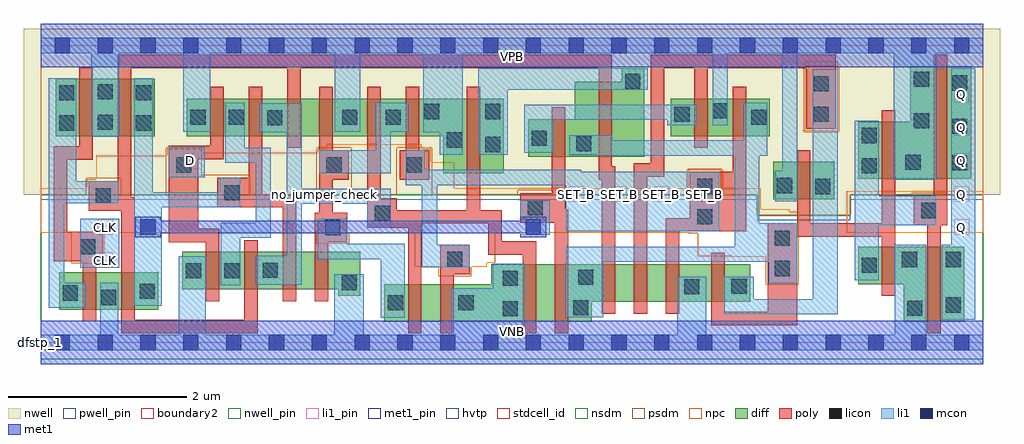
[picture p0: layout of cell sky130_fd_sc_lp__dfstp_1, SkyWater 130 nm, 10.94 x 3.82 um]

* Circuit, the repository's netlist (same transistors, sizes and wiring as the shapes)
* Copyright 2020 The SkyWater PDK Authors
*
* Licensed under the Apache License, Version 2.0 (the "License");
* you may not use this file except in compliance with the License.
* You may obtain a copy of the License at
*
*     https://www.apache.org/licenses/LICENSE-2.0
*
* Unless required by applicable law or agreed to in writing, software
* distributed under the License is distributed on an "AS IS" BASIS,
* WITHOUT WARRANTIES OR CONDITIONS OF ANY KIND, either express or implied.
* See the License for the specific language governing permissions and
* limitations under the License.
*
* SPDX-License-Identifier: Apache-2.0

.SUBCKT sky130_fd_sc_lp__dfstp_1 CLK D SET_B VGND VNB VPB VPWR Q
*.PININFO CLK:I D:I SET_B:I VGND:I VNB:I VPB:I VPWR:I Q:O
MI36 net120 M0 VGND VNB sky130_fd_pr__nfet_01v8 m=1 w=0.64U l=0.15U mult=1 sa=0.265
+ sb=0.265 sd=0.28 area=0.063 perim=1.14
MI42 db clkneg M0 VNB sky130_fd_pr__nfet_01v8 m=1 w=0.42U l=0.15U mult=1 sa=0.265
+ sb=0.265 sd=0.28 area=0.063 perim=1.14
MI44 clkneg CLK VGND VNB sky130_fd_pr__nfet_01v8 m=1 w=0.42U l=0.15U mult=1 sa=0.265
+ sb=0.265 sd=0.28 area=0.063 perim=1.14
MI39 db D VGND VNB sky130_fd_pr__nfet_01v8 m=1 w=0.42U l=0.15U mult=1 sa=0.265
+ sb=0.265 sd=0.28 area=0.063 perim=1.14
MI656 M1 M0 net103 VNB sky130_fd_pr__nfet_01v8 m=1 w=0.42U l=0.15U mult=1 sa=0.265
+ sb=0.265 sd=0.28 area=0.063 perim=1.14
MI654 net100 M1 VGND VNB sky130_fd_pr__nfet_01v8 m=1 w=0.42U l=0.15U mult=1 sa=0.265
+ sb=0.265 sd=0.28 area=0.063 perim=1.14
MI34 S0 clkpos net120 VNB sky130_fd_pr__nfet_01v8 m=1 w=0.64U l=0.15U mult=1 sa=0.265
+ sb=0.265 sd=0.28 area=0.063 perim=1.14
MI46 clkpos clkneg VGND VNB sky130_fd_pr__nfet_01v8 m=1 w=0.42U l=0.15U mult=1
+ sa=0.265 sb=0.265 sd=0.28 area=0.063 perim=1.14
MI25 net88 SET_B VGND VNB sky130_fd_pr__nfet_01v8 m=1 w=0.42U l=0.15U mult=1 sa=0.265
+ sb=0.265 sd=0.28 area=0.063 perim=1.14
MI26 S0 clkneg net80 VNB sky130_fd_pr__nfet_01v8 m=1 w=0.42U l=0.15U mult=1 sa=0.265
+ sb=0.265 sd=0.28 area=0.063 perim=1.14
MI27 net80 S1 net88 VNB sky130_fd_pr__nfet_01v8 m=1 w=0.42U l=0.15U mult=1 sa=0.265
+ sb=0.265 sd=0.28 area=0.063 perim=1.14
MI647 S1 S0 VGND VNB sky130_fd_pr__nfet_01v8 m=1 w=0.42U l=0.15U mult=1 sa=0.265
+ sb=0.265 sd=0.28 area=0.063 perim=1.14
MI655 M0 clkpos net100 VNB sky130_fd_pr__nfet_01v8 m=1 w=0.42U l=0.15U mult=1 sa=0.265
+ sb=0.265 sd=0.28 area=0.063 perim=1.14
MI657 net103 SET_B VGND VNB sky130_fd_pr__nfet_01v8 m=1 w=0.42U l=0.15U mult=1
+ sa=0.265 sb=0.265 sd=0.28 area=0.063 perim=1.14
MI652 net128 S0 VGND VNB sky130_fd_pr__nfet_01v8 m=1 w=0.42U l=0.15U mult=1 sa=0.265
+ sb=0.265 sd=0.28 area=0.063 perim=1.14
MI653 Q net128 VGND VNB sky130_fd_pr__nfet_01v8 m=1 w=0.84U l=0.15U mult=1 sa=0.265
+ sb=0.265 sd=0.28 area=0.063 perim=1.14
MI40 db D VPWR VPB sky130_fd_pr__pfet_01v8_hvt m=1 w=0.42U l=0.15U mult=1 sa=0.265
+ sb=0.265 sd=0.28 area=0.063 perim=1.14
MI38 S0 clkneg net179 VPB sky130_fd_pr__pfet_01v8_hvt m=1 w=0.84U l=0.15U mult=1
+ sa=0.265 sb=0.265 sd=0.28 area=0.063 perim=1.14
MI37 net179 M0 VPWR VPB sky130_fd_pr__pfet_01v8_hvt m=1 w=0.84U l=0.15U mult=1
+ sa=0.265 sb=0.265 sd=0.28 area=0.063 perim=1.14
MI43 db clkpos M0 VPB sky130_fd_pr__pfet_01v8_hvt m=1 w=0.42U l=0.15U mult=1 sa=0.265
+ sb=0.265 sd=0.28 area=0.063 perim=1.14
MI45 clkneg CLK VPWR VPB sky130_fd_pr__pfet_01v8_hvt m=1 w=0.64U l=0.15U mult=1
+ sa=0.265 sb=0.265 sd=0.28 area=0.063 perim=1.14
MI47 clkpos clkneg VPWR VPB sky130_fd_pr__pfet_01v8_hvt m=1 w=0.64U l=0.15U mult=1
+ sa=0.265 sb=0.265 sd=0.28 area=0.063 perim=1.14
MI659 M1 SET_B VPWR VPB sky130_fd_pr__pfet_01v8_hvt m=1 w=0.42U l=0.15U mult=1
+ sa=0.265 sb=0.265 sd=0.28 area=0.063 perim=1.14
MI662 net156 M1 VPWR VPB sky130_fd_pr__pfet_01v8_hvt m=1 w=0.42U l=0.15U mult=1
+ sa=0.265 sb=0.265 sd=0.28 area=0.063 perim=1.14
MI664 M0 clkneg net156 VPB sky130_fd_pr__pfet_01v8_hvt m=1 w=0.42U l=0.15U mult=1
+ sa=0.265 sb=0.265 sd=0.28 area=0.063 perim=1.14
MI6 net143 S1 VPWR VPB sky130_fd_pr__pfet_01v8_hvt m=1 w=0.42U l=0.15U mult=1 sa=0.265
+ sb=0.265 sd=0.28 area=0.063 perim=1.14
MI5 S0 clkpos net143 VPB sky130_fd_pr__pfet_01v8_hvt m=1 w=0.42U l=0.15U mult=1
+ sa=0.265 sb=0.265 sd=0.28 area=0.063 perim=1.14
MI24 S0 SET_B VPWR VPB sky130_fd_pr__pfet_01v8_hvt m=1 w=0.42U l=0.15U mult=1 sa=0.265
+ sb=0.265 sd=0.28 area=0.063 perim=1.14
MI648 S1 S0 VPWR VPB sky130_fd_pr__pfet_01v8_hvt m=1 w=0.42U l=0.15U mult=1 sa=0.265
+ sb=0.265 sd=0.28 area=0.063 perim=1.14
MI658 M1 M0 VPWR VPB sky130_fd_pr__pfet_01v8_hvt m=1 w=0.42U l=0.15U mult=1 sa=0.265
+ sb=0.265 sd=0.28 area=0.063 perim=1.14
MI663 net128 S0 VPWR VPB sky130_fd_pr__pfet_01v8_hvt m=1 w=0.64U l=0.15U mult=1
+ sa=0.265 sb=0.265 sd=0.28 area=0.063 perim=1.14
MI660 Q net128 VPWR VPB sky130_fd_pr__pfet_01v8_hvt m=1 w=1.26U l=0.15U mult=1
+ sa=0.265 sb=0.265 sd=0.28 area=0.063 perim=1.14
.ENDS sky130_fd_sc_lp__dfstp_1

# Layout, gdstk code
import gdstk
lib = gdstk.Library(unit=1e-6, precision=1e-09)
def R(c, l, rs):  # rectangles x0, y0, x1, y1
    for r in rs: c.add(gdstk.rectangle(r[:2], r[2:], *l))
def A(c, l, x, y, w, h, nx, ny, dx, dy):  # array of equal rectangles
    R(c, l, [(x+i*dx, y+j*dy, x+i*dx+w, y+j*dy+h) for i in range(nx) for j in range(ny)])
def P(c, l, *ps):  # polygons
    for p in ps: c.add(gdstk.Polygon(p, *l))
nwell_pin = (64, 16)
nwell = (64, 20)
diff = (65, 20)
poly = (66, 20)
licon = (66, 44)
li1_pin = (67, 16)
li1 = (67, 20)
mcon = (67, 44)
met1_pin = (68, 16)
met1 = (68, 20)
hvtp = (78, 44)
stdcell_id = (81, 4)
nsdm = (93, 44)
psdm = (94, 20)
npc = (95, 20)
pwell_pin = (122, 16)
boundary2 = (236, 0)

sky130_fd_sc_lp__dfstp_1 = lib.new_cell('sky130_fd_sc_lp__dfstp_1')
R(sky130_fd_sc_lp__dfstp_1, nwell_pin, [(0,3.085,10.56,3.33)])
P(sky130_fd_sc_lp__dfstp_1, nwell, [(10.75,3.52),(-0.19,3.52),(-0.19,1.655),(8.03,1.655),(8.03,1.425),(9.07,1.425),(9.07,1.655),(10.75,1.655)])
R(sky130_fd_sc_lp__dfstp_1, diff, [(0.205,0.37,1.315,0.79), (8.21,1.605,8.89,2.025), (0.165,2.315,1.275,2.955), (7.06,2.315,8.17,2.735)])
P(sky130_fd_sc_lp__dfstp_1, diff, [(3.58,1.015),(1.585,1.015),(1.585,0.595),(3.33,0.595),(3.33,0.525),(3.58,0.525)],
  [(5.19,2.735),(1.635,2.735),(1.635,2.315),(4.51,2.315),(4.51,1.895),(5.19,1.895)],
  [(6.76,3.075),(6.51,3.075),(6.51,2.925),(5.985,2.925),(5.985,2.505),(5.46,2.505),(5.46,2.085),(6.76,2.085)],
  [(7.95,0.875),(5.045,0.875),(5.045,0.655),(3.85,0.655),(3.85,0.235),(6.175,0.235),(6.175,0.455),(7.95,0.455)],
  [(10.35,1.075),(9.16,1.075),(9.16,0.655),(9.67,0.655),(9.67,0.235),(10.35,0.235)],
  [(10.425,3.095),(9.745,3.095),(9.745,2.475),(9.16,2.475),(9.16,1.835),(10.425,1.835)])
P(sky130_fd_sc_lp__dfstp_1, poly, [(0.69,1.24),(0.295,1.24),(0.295,2.05),(0.58,2.05),(0.58,3.085),(0.43,3.085),(0.43,2.2),(0.145,2.2),(0.145,0.91),(0.47,0.91),(0.47,0.24),(0.62,0.24),(0.62,0.91),(0.69,0.91)],
  [(2.05,2.865),(1.9,2.865),(1.9,2.205),(1.435,2.205),(1.435,1.125),(1.85,1.125),(1.85,0.465),(2,0.465),(2,1.275),(1.765,1.275),(1.765,2.055),(2.05,2.055)],
  [(2.86,1.665),(2.48,1.665),(2.48,2.865),(2.33,2.865),(2.33,1.845),(1.975,1.845),(1.975,1.515),(2.71,1.515),(2.71,0.465),(2.86,0.465)],
  [(3.45,2.155),(3.27,2.155),(3.27,2.865),(3.12,2.865),(3.12,1.455),(3.07,1.455),(3.07,0.465),(3.22,0.465),(3.22,1.125),(3.435,1.125),(3.435,1.455),(3.27,1.455),(3.27,1.825),(3.45,1.825)],
  [(4.35,2.155),(4.24,2.155),(4.24,2.865),(4.09,2.865),(4.09,2.155),(4.02,2.155),(4.02,1.825),(4.35,1.825)],
  [(4.805,1.095),(4.475,1.095),(4.475,0.105),(4.625,0.105),(4.625,0.765),(4.805,0.765)],
  [(5.55,1.135),(5.165,1.135),(5.165,1.485),(4.925,1.485),(4.925,2.865),(4.775,2.865),(4.775,1.485),(3.99,1.485),(3.99,1.615),(3.81,1.615),(3.81,2.865),(3.66,2.865),(3.66,1.285),(4.115,1.285),(4.115,0.105),(4.265,0.105),(4.265,1.335),(5.015,1.335),(5.015,0.985),(5.4,0.985),(5.4,0.105),(5.55,0.105)],
  [(5.91,1.495),(5.875,1.495),(5.875,2.635),(5.725,2.635),(5.725,1.675),(5.375,1.675),(5.375,1.345),(5.76,1.345),(5.76,0.105),(5.91,0.105)],
  [(6.435,1.975),(6.4,1.975),(6.4,3.225),(0.86,3.225),(0.86,1.81),(0.535,1.81),(0.535,1.48),(0.9,1.48),(0.9,0.105),(2.43,0.105),(2.43,1.145),(2.28,1.145),(2.28,0.255),(1.05,0.255),(1.05,1.63),(1.01,1.63),(1.01,3.075),(2.76,3.075),(2.76,2.185),(2.91,2.185),(2.91,3.075),(6.25,3.075),(6.25,1.825),(6.285,1.825),(6.285,0.325),(6.435,0.325)],
  [(7.905,2.865),(7.755,2.865),(7.755,1.915),(7.275,1.915),(7.275,1.395),(7.005,1.395),(7.005,0.325),(7.155,0.325),(7.155,1.245),(7.905,1.245)],
  [(8.91,3.225),(6.835,3.225),(6.835,2.01),(6.645,2.01),(6.645,0.325),(6.795,0.325),(6.795,1.86),(6.985,1.86),(6.985,3.075),(7.325,3.075),(7.325,2.185),(7.475,2.185),(7.475,3.075),(8.58,3.075),(8.58,2.395),(8.91,2.395)],
  [(9.575,2.605),(9.425,2.605),(9.425,1.335),(8.625,1.335),(8.625,2.155),(8.475,2.155),(8.475,1.335),(8.145,1.335),(8.145,0.345),(7.665,0.345),(7.665,1.005),(7.515,1.005),(7.515,0.195),(8.475,0.195),(8.475,1.185),(9.425,1.185),(9.425,0.525),(9.575,0.525)],
  [(10.16,3.225),(10.01,3.225),(10.01,1.645),(9.785,1.645),(9.785,1.315),(9.935,1.315),(9.935,0.105),(10.085,0.105),(10.085,1.315),(10.16,1.315)])
R(sky130_fd_sc_lp__dfstp_1, licon, [(5.175,0.295,5.345,0.465), (9.71,0.3,9.88,0.47), (5.965,0.305,6.135,0.475), (10.14,0.335,10.31,0.505), (3.89,0.36,4.06,0.53), (4.68,0.36,4.85,0.53), (0.675,0.42,0.845,0.59), (0.245,0.47,0.415,0.64), (1.105,0.49,1.275,0.66), (7.21,0.54,7.38,0.71), (7.74,0.545,7.91,0.715), (3.37,0.585,3.54,0.755), (5.175,0.635,5.345,0.805), (6.02,0.645,6.19,0.815), (1.625,0.72,1.795,0.89), (2.055,0.72,2.225,0.89), (2.485,0.725,2.655,0.895), (8.225,0.745,8.395,0.915), (9.2,0.78,9.37,0.95), (4.555,0.845,4.725,1.015), (9.65,0.845,9.82,1.015), (10.14,0.845,10.31,1.015), (0.44,0.99,0.61,1.16), (8.225,1.085,8.395,1.255), (3.185,1.205,3.355,1.375), (7.355,1.325,7.525,1.495), (3.74,1.365,3.91,1.535), (9.865,1.395,10.035,1.565), (5.455,1.425,5.625,1.595), (0.615,1.56,0.785,1.73), (2.055,1.595,2.225,1.765), (7.355,1.665,7.525,1.835), (8.68,1.665,8.85,1.835), (8.25,1.675,8.42,1.845), (9.2,1.895,9.37,2.065), (1.515,1.905,1.685,2.075), (3.2,1.905,3.37,2.075), (4.1,1.905,4.27,2.075), (10.215,1.93,10.385,2.1), (9.69,1.935,9.86,2.105), (4.98,2.135,5.15,2.305), (6,2.145,6.17,2.315), (4.55,2.185,4.72,2.355), (5.5,2.205,5.67,2.375), (9.2,2.235,9.37,2.405), (10.215,2.34,10.385,2.51), (0.205,2.375,0.375,2.545), (1.065,2.375,1.235,2.545), (0.635,2.385,0.805,2.555), (9.785,2.4,9.955,2.57), (2.535,2.435,2.705,2.605), (1.675,2.44,1.845,2.61), (2.105,2.44,2.275,2.61), (3.375,2.44,3.545,2.61), (3.865,2.44,4.035,2.61), (7.96,2.44,8.13,2.61), (7.1,2.475,7.27,2.645), (8.66,2.475,8.83,2.645), (4.295,2.505,4.465,2.675), (4.98,2.505,5.15,2.675), (7.53,2.515,7.7,2.685), (0.205,2.715,0.375,2.885), (1.065,2.715,1.235,2.885), (0.635,2.725,0.805,2.895), (8.66,2.815,8.83,2.985), (10.215,2.825,10.385,2.995), (6.55,2.845,6.72,3.015), (9.785,2.865,9.955,3.035)])
A(sky130_fd_sc_lp__dfstp_1, li1_pin, 10.235, 1.21, 0.17, 0.17, 1, 5, 0, 0.37)
A(sky130_fd_sc_lp__dfstp_1, li1_pin, 5.915, 1.58, 0.17, 0.17, 4, 1, 0.48, 0)
R(sky130_fd_sc_lp__dfstp_1, li1_pin, [(0.635,0.84,0.805,1.01), (0.635,1.21,0.805,1.38), (1.595,1.95,1.765,2.12)])
R(sky130_fd_sc_lp__dfstp_1, li1, [(0.44,0.84,0.875,1.39), (1.435,1.855,1.835,2.19)])
P(sky130_fd_sc_lp__dfstp_1, li1, [(4.3,1.935),(6.055,1.935),(6.055,1.915),(7.605,1.915),(7.605,1.245),(5.885,1.245),(5.885,1.765),(4.44,1.765),(4.44,1.095),(4.805,1.095),(4.805,0.845),(4.27,0.845),(4.27,1.765),(4.09,1.765),(4.09,2.155),(4.3,2.155)],
  [(10.56,3.415),(0,3.415),(0,3.245),(0.565,3.245),(0.565,2.305),(0.875,2.305),(0.875,3.245),(1.595,3.245),(1.595,2.36),(1.895,2.36),(1.895,3.245),(3.295,3.245),(3.295,2.36),(3.58,2.36),(3.58,3.245),(4.285,3.245),(4.285,2.355),(4.47,2.355),(4.47,2.105),(4.73,2.105),(4.73,3.245),(7.53,3.245),(7.53,2.435),(7.7,2.435),(7.7,3.245),(8.31,3.245),(8.31,1.925),(8.23,1.925),(8.23,1.585),(8.48,1.585),(8.48,3.245),(9.56,3.245),(9.56,1.825),(10.035,1.825),(10.035,3.245),(10.56,3.245)],
  [(3.105,0.935),(3.105,1.385),(3.435,1.385),(3.435,1.105),(4.08,1.105),(4.08,0.28),(3.81,0.28),(3.81,0.935)],
  [(5.435,1.21),(5.435,1.38),(5.375,1.38),(5.375,1.595),(5.705,1.595),(5.705,1.21)],
  [(10.205,1.095),(10.205,3.075),(10.475,3.075),(10.475,0.255),(10.095,0.255),(10.095,1.095)],
  [(9.39,1.645),(10.035,1.645),(10.035,1.315),(9.39,1.315),(9.39,0.7),(9.12,0.7),(9.12,2.485),(9.39,2.485)],
  [(8.65,0.485),(8.65,3.065),(8.93,3.065),(8.93,0.315),(7.66,0.315),(7.66,0.735),(7.99,0.735),(7.99,0.485)],
  [(7.775,1.075),(7.775,2.095),(6.235,2.095),(6.235,2.105),(5.92,2.105),(5.92,2.325),(6.405,2.325),(6.405,2.265),(7.88,2.265),(7.88,2.69),(8.14,2.69),(8.14,2.095),(8.05,2.095),(8.05,1.335),(8.475,1.335),(8.475,0.665),(8.16,0.665),(8.16,0.905),(6.305,0.905),(6.305,0.285),(5.885,0.285),(5.885,1.075)],
  [(5.23,2.835),(5.23,2.105),(4.9,2.105),(4.9,3.075),(6.8,3.075),(6.8,2.835)],
  [(7.02,2.495),(5.75,2.495),(5.75,2.125),(5.42,2.125),(5.42,2.665),(7.35,2.665),(7.35,2.435),(7.02,2.435)],
  [(3.75,2.155),(3.75,2.69),(4.115,2.69),(4.115,2.36),(3.92,2.36),(3.92,1.895),(3.12,1.895),(3.12,2.155)],
  [(2.925,1.725),(3.92,1.725),(3.92,1.285),(3.66,1.285),(3.66,1.555),(2.925,1.555),(2.925,0.645),(2.405,0.645),(2.405,0.975),(2.755,0.975),(2.755,2.355),(2.455,2.355),(2.455,2.685),(2.925,2.685)],
  [(2.285,2.185),(2.575,2.185),(2.575,1.175),(2.235,1.175),(2.235,0.64),(2.015,0.64),(2.015,1.345),(2.405,1.345),(2.405,2.015),(2.065,2.015),(2.065,2.69),(2.285,2.69)],
  [(1.255,1.685),(2.005,1.685),(2.005,1.845),(2.235,1.845),(2.235,1.515),(1.355,1.515),(1.355,0.41),(1.045,0.41),(1.045,2.965),(1.255,2.965)],
  [(0.395,1.81),(0.865,1.81),(0.865,1.56),(0.26,1.56),(0.26,0.67),(0.495,0.67),(0.495,0.39),(0.09,0.39),(0.09,2.965),(0.395,2.965)],
  [(10.56,0.085),(9.925,0.085),(9.925,1.095),(9.57,1.095),(9.57,0.085),(7.46,0.085),(7.46,0.735),(7.13,0.735),(7.13,0.085),(5.425,0.085),(5.425,0.885),(5.065,0.885),(5.065,0.61),(4.6,0.61),(4.6,0.085),(3.62,0.085),(3.62,0.765),(3.29,0.765),(3.29,0.085),(1.845,0.085),(1.845,0.97),(1.545,0.97),(1.545,0.085),(0.865,0.085),(0.865,0.67),(0.665,0.67),(0.665,0.085),(0,0.085),(0,-0.085),(10.56,-0.085)])
A(sky130_fd_sc_lp__dfstp_1, mcon, 0.155, -0.085, 0.17, 0.17, 22, 2, 0.48, 3.33)
R(sky130_fd_sc_lp__dfstp_1, mcon, [(1.115,1.21,1.285,1.38), (5.435,1.21,5.605,1.38)])
R(sky130_fd_sc_lp__dfstp_1, met1_pin, [(0,0,10.56,0.245), (0,3.085,10.56,3.33)])
R(sky130_fd_sc_lp__dfstp_1, met1, [(0,-0.245,10.56,0.245), (0,3.085,10.56,3.575)])
P(sky130_fd_sc_lp__dfstp_1, met1, [(1.345,1.365),(5.375,1.365),(5.375,1.41),(5.665,1.41),(5.665,1.18),(5.375,1.18),(5.375,1.225),(1.345,1.225),(1.345,1.18),(1.055,1.18),(1.055,1.41),(1.345,1.41)])
P(sky130_fd_sc_lp__dfstp_1, hvtp, [(10.56,3.33),(0,3.33),(0,1.6),(8.03,1.6),(8.03,1.37),(9.07,1.37),(9.07,1.6),(10.56,1.6)])
R(sky130_fd_sc_lp__dfstp_1, stdcell_id, [(0,0,10.56,3.33)])
P(sky130_fd_sc_lp__dfstp_1, nsdm, [(10.56,1.655),(9.07,1.655),(9.07,1.425),(8.03,1.425),(8.03,1.655),(0,1.655),(0,-0.19),(10.56,-0.19)])
P(sky130_fd_sc_lp__dfstp_1, psdm, [(10.56,3.52),(8.94,3.52),(8.94,2.365),(8.55,2.365),(8.55,3.095),(8.94,3.095),(8.94,3.52),(0,3.52),(0,1.655),(0.505,1.655),(0.505,1.84),(0.895,1.84),(0.895,1.655),(1.405,1.655),(1.405,2.185),(1.795,2.185),(1.795,1.875),(2.335,1.875),(2.335,1.655),(3.09,1.655),(3.09,2.185),(3.48,2.185),(3.48,1.655),(3.99,1.655),(3.99,2.185),(4.38,2.185),(4.38,1.655),(5.345,1.655),(5.345,1.705),(5.735,1.705),(5.735,1.655),(7.245,1.655),(7.245,1.945),(7.635,1.945),(7.635,1.655),(8.03,1.655),(8.03,1.425),(9.07,1.425),(9.07,1.655),(9.755,1.655),(9.755,1.675),(10.145,1.675),(10.145,1.655),(10.56,1.655)])
R(sky130_fd_sc_lp__dfstp_1, npc, [(9.03,1.23,10.56,1.695), (8.56,2.375,8.93,3.155)])
P(sky130_fd_sc_lp__dfstp_1, npc, [(8.495,1.465),(8.39,1.465),(8.39,1.495),(8.07,1.495),(8.07,1.73),(7.625,1.73),(7.625,1.935),(7.255,1.935),(7.255,1.73),(4.635,1.73),(4.635,2.02),(4.37,2.02),(4.37,2.175),(4.265,2.175),(4.265,2.225),(3.205,2.225),(3.205,2.175),(3.1,2.175),(3.1,2.13),(1.785,2.13),(1.785,2.175),(1.415,2.175),(1.415,2.095),(0.62,2.095),(0.62,1.83),(0.515,1.83),(0.515,1.73),(0,1.73),(0,1.23),(0.34,1.23),(0.34,0.89),(0.71,0.89),(0.71,1.23),(3.085,1.23),(3.085,1.105),(3.455,1.105),(3.455,1.23),(4.19,1.23),(4.19,0.85),(4.455,0.85),(4.455,0.745),(4.825,0.745),(4.825,0.85),(4.995,0.85),(4.995,0.895),(5.09,0.895),(5.09,1.23),(7.255,1.23),(7.255,1.225),(7.36,1.225),(7.36,0.965),(7.755,0.965),(7.755,0.96),(8.125,0.96),(8.125,0.645),(8.495,0.645)])
R(sky130_fd_sc_lp__dfstp_1, pwell_pin, [(0,0,10.56,0.245)])
R(sky130_fd_sc_lp__dfstp_1, boundary2, [(0,0,10.56,3.33)])
sky130_fd_sc_lp__dfstp_1.add(gdstk.Label('VNB', (5.28,0.123), layer=64, texttype=59))
sky130_fd_sc_lp__dfstp_1.add(gdstk.Label('VPB', (5.28,3.208), layer=64, texttype=5))
sky130_fd_sc_lp__dfstp_1.add(gdstk.Label('dfstp_1', (0,0), layer=83, texttype=44))
sky130_fd_sc_lp__dfstp_1.add(gdstk.Label('no_jumper_check', (3.18,1.655), layer=83, texttype=44))
sky130_fd_sc_lp__dfstp_1.add(gdstk.Label('VPWR', (5.28,3.208), layer=68, texttype=5))
sky130_fd_sc_lp__dfstp_1.add(gdstk.Label('VGND', (5.28,0.123), layer=68, texttype=5))
sky130_fd_sc_lp__dfstp_1.add(gdstk.Label('CLK', (0.72,0.925), layer=67, texttype=5))
sky130_fd_sc_lp__dfstp_1.add(gdstk.Label('CLK', (0.72,1.295), layer=67, texttype=5))
sky130_fd_sc_lp__dfstp_1.add(gdstk.Label('D', (1.68,2.035), layer=67, texttype=5))
sky130_fd_sc_lp__dfstp_1.add(gdstk.Label('SET_B', (6,1.665), layer=67, texttype=5))
sky130_fd_sc_lp__dfstp_1.add(gdstk.Label('SET_B', (6.48,1.665), layer=67, texttype=5))
sky130_fd_sc_lp__dfstp_1.add(gdstk.Label('SET_B', (6.96,1.665), layer=67, texttype=5))
sky130_fd_sc_lp__dfstp_1.add(gdstk.Label('SET_B', (7.44,1.665), layer=67, texttype=5))
sky130_fd_sc_lp__dfstp_1.add(gdstk.Label('Q', (10.32,1.295), layer=67, texttype=5))
sky130_fd_sc_lp__dfstp_1.add(gdstk.Label('Q', (10.32,1.665), layer=67, texttype=5))
sky130_fd_sc_lp__dfstp_1.add(gdstk.Label('Q', (10.32,2.035), layer=67, texttype=5))
sky130_fd_sc_lp__dfstp_1.add(gdstk.Label('Q', (10.32,2.405), layer=67, texttype=5))
sky130_fd_sc_lp__dfstp_1.add(gdstk.Label('Q', (10.32,2.775), layer=67, texttype=5))

lib.write_gds('sky130_fd_sc_lp__dfstp_1.gds')
